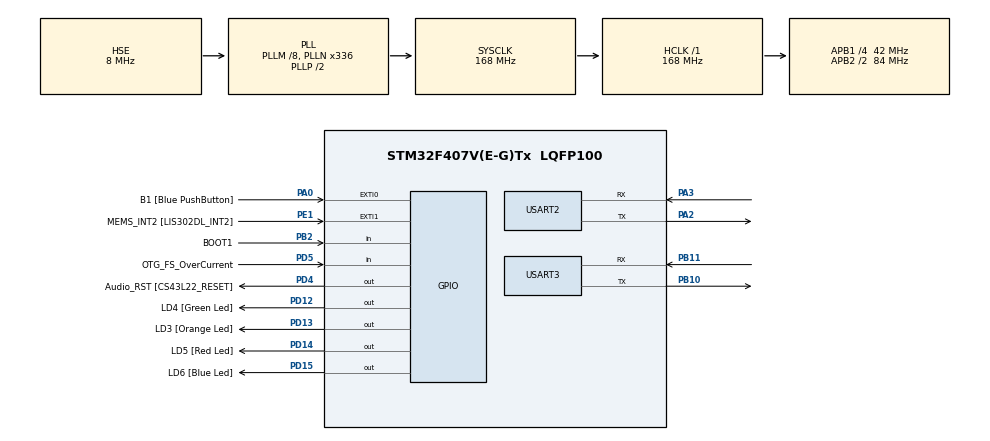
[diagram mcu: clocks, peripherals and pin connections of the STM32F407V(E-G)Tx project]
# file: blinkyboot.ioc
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Mcu.Family=STM32F4
Mcu.Name=STM32F407V(E-G)Tx
Mcu.Package=LQFP100
NVIC.PriorityGroup=NVIC_PRIORITYGROUP_0
PA0-WKUP.GPIO_Label=B1 [Blue PushButton]
PA0-WKUP.GPIO_ModeDefaultEXTI=GPIO_MODE_EVT_RISING
PA0-WKUP.GPIO_PuPd=GPIO_NOPULL
PA0-WKUP.Signal=GPXTI0
PA13.GPIO_Label=SWDIO
PA13.Mode=Serial_Wire
PA13.Signal=SYS_JTMS-SWDIO
PA14.GPIO_Label=SWCLK
PA14.Mode=Serial_Wire
PA14.Signal=SYS_JTCK-SWCLK
PA2.Mode=Asynchronous
PA2.Signal=USART2_TX
PA3.Mode=Asynchronous
PA3.Signal=USART2_RX
PB10.Mode=Asynchronous
PB10.Signal=USART3_TX
PB11.Mode=Asynchronous
PB11.Signal=USART3_RX
PB2.GPIO_Label=BOOT1
PB2.GPIO_Mode=GPIO_MODE_INPUT
PB2.GPIO_PuPd=GPIO_NOPULL
PB2.Signal=GPIO_Input
PC14-OSC32_IN.GPIO_Label=PC14-OSC32_IN
PC14-OSC32_IN.Mode=LSE-External-Oscillator
PC14-OSC32_IN.Signal=RCC_OSC32_IN
PC15-OSC32_OUT.GPIO_Label=PC15-OSC32_OUT
PC15-OSC32_OUT.Mode=LSE-External-Oscillator
PC15-OSC32_OUT.Signal=RCC_OSC32_OUT
PD12.GPIO_Label=LD4 [Green Led]
PD12.GPIO_PuPd=GPIO_NOPULL
PD12.GPIO_Speed=GPIO_SPEED_FREQ_LOW
PD12.Signal=GPIO_Output
PD13.GPIO_Label=LD3 [Orange Led]
PD13.GPIO_PuPd=GPIO_NOPULL
PD13.GPIO_Speed=GPIO_SPEED_FREQ_LOW
PD13.Signal=GPIO_Output
PD14.GPIO_Label=LD5 [Red Led]
PD14.GPIO_PuPd=GPIO_NOPULL
PD14.GPIO_Speed=GPIO_SPEED_FREQ_LOW
PD14.Signal=GPIO_Output
PD15.GPIO_Label=LD6 [Blue Led]
PD15.GPIO_PuPd=GPIO_NOPULL
PD15.GPIO_Speed=GPIO_SPEED_FREQ_LOW
PD15.Signal=GPIO_Output
PD4.GPIO_Label=Audio_RST [CS43L22_RESET]
PD4.GPIO_PuPd=GPIO_NOPULL
PD4.GPIO_Speed=GPIO_SPEED_FREQ_LOW
PD4.Signal=GPIO_Output
PD5.GPIO_Label=OTG_FS_OverCurrent
PD5.GPIO_Mode=GPIO_MODE_INPUT
PD5.GPIO_PuPd=GPIO_NOPULL
PD5.Signal=GPIO_Input
PE1.GPIO_Label=MEMS_INT2 [LIS302DL_INT2]
PE1.GPIO_ModeDefaultEXTI=GPIO_MODE_EVT_RISING
PE1.GPIO_PuPd=GPIO_NOPULL
PE1.Signal=GPXTI1
PH0-OSC_IN.GPIO_Label=PH0-OSC_IN
PH0-OSC_IN.Mode=HSE-External-Oscillator
PH0-OSC_IN.Signal=RCC_OSC_IN
PH1-OSC_OUT.GPIO_Label=PH1-OSC_OUT
PH1-OSC_OUT.Mode=HSE-External-Oscillator
PH1-OSC_OUT.Signal=RCC_OSC_OUT
ProjectManager.HeapSize=0x200
ProjectManager.StackSize=0x400
ProjectManager.TargetToolchain=STM32CubeIDE
RCC.48MHZClocksFreq_Value=48000000
RCC.AHBFreq_Value=168000000
RCC.APB1CLKDivider=RCC_HCLK_DIV4
RCC.APB1Freq_Value=42000000
RCC.APB1TimFreq_Value=84000000
RCC.APB2CLKDivider=RCC_HCLK_DIV2
RCC.APB2Freq_Value=84000000
RCC.APB2TimFreq_Value=168000000
RCC.CortexFreq_Value=168000000
RCC.HCLKFreq_Value=168000000
RCC.HSE_VALUE=8000000
RCC.HSI_VALUE=16000000
RCC.PLLM=8
RCC.PLLN=336
RCC.PLLQ=7
RCC.PLLSourceVirtual=RCC_PLLSOURCE_HSE
RCC.SYSCLKFreq_VALUE=168000000
RCC.SYSCLKSource=RCC_SYSCLKSOURCE_PLLCLK
RCC.VCOOutputFreq_Value=336000000
USART2.VirtualMode=VM_ASYNC
USART3.VirtualMode=VM_ASYNC
VP_CRC_VS_CRC.Mode=CRC_Activate
board=STM32F407G-DISC1

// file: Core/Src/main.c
/* USER CODE BEGIN Header */
/**
  ******************************************************************************
  * @file           : main.c
  * @brief          : Main program body
  ******************************************************************************
  * @attention
  *
  * <h2><center>&copy; Copyright (c) 2021 STMicroelectronics.
  * All rights reserved.</center></h2>
  *
  * This software component is licensed by ST under Ultimate Liberty license
  * SLA0044, the "License"; You may not use this file except in compliance with
  * the License. You may obtain a copy of the License at:
  *                             www.st.com/SLA0044
  *
  ******************************************************************************
  */
/* USER CODE END Header */
#include "main.h"

CRC_HandleTypeDef hcrc;

UART_HandleTypeDef huart2;
UART_HandleTypeDef huart3;

void SystemClock_Config(void);
static void MX_GPIO_Init(void);
static void MX_USART3_UART_Init(void);
static void MX_CRC_Init(void);
static void MX_USART2_UART_Init(void);
/* USER CODE BEGIN PFP */
void vishwaboot_jumptoApplication(void);
void vishwaboot_runBootloader(void);
/* USER CODE END PFP */

int main(void)
{

  /* MCU Configuration--------------------------------------------------------*/

  /* Reset of all peripherals, Initializes the Flash interface and the Systick. */
  HAL_Init();

  /* Configure the system clock */
  SystemClock_Config();

  /* Initialize all configured peripherals */
  MX_GPIO_Init();
  MX_USART3_UART_Init();
  MX_CRC_Init();
  MX_USART2_UART_Init();

  /* Infinite loop */
  /* USER CODE BEGIN WHILE */
  while (1)
  {
	  if(HAL_GPIO_ReadPin(B1_GPIO_Port, B1_Pin) == 1)
	  {
		  vishwaboot_jumptoApplication();
	  }
	  else
	  {
		  vishwaboot_runBootloader();
	  }

    /* USER CODE END WHILE */

  }
}

void SystemClock_Config(void)
{
  RCC_OscInitTypeDef RCC_OscInitStruct = {0};
  RCC_ClkInitTypeDef RCC_ClkInitStruct = {0};

  /** Configure the main internal regulator output voltage
  */
  __HAL_RCC_PWR_CLK_ENABLE();
  __HAL_PWR_VOLTAGESCALING_CONFIG(PWR_REGULATOR_VOLTAGE_SCALE1);
  /** Initializes the RCC Oscillators according to the specified parameters
  * in the RCC_OscInitTypeDef structure.
  */
  RCC_OscInitStruct.OscillatorType = RCC_OSCILLATORTYPE_HSE;
  RCC_OscInitStruct.HSEState = RCC_HSE_ON;
  RCC_OscInitStruct.PLL.PLLState = RCC_PLL_ON;
  RCC_OscInitStruct.PLL.PLLSource = RCC_PLLSOURCE_HSE;
  RCC_OscInitStruct.PLL.PLLM = 8;
  RCC_OscInitStruct.PLL.PLLN = 336;
  RCC_OscInitStruct.PLL.PLLP = RCC_PLLP_DIV2;
  RCC_OscInitStruct.PLL.PLLQ = 7;
  if (HAL_RCC_OscConfig(&RCC_OscInitStruct) != HAL_OK)
  {
    Error_Handler();
  }
  /** Initializes the CPU, AHB and APB buses clocks
  */
  RCC_ClkInitStruct.ClockType = RCC_CLOCKTYPE_HCLK|RCC_CLOCKTYPE_SYSCLK
                              |RCC_CLOCKTYPE_PCLK1|RCC_CLOCKTYPE_PCLK2;
  RCC_ClkInitStruct.SYSCLKSource = RCC_SYSCLKSOURCE_PLLCLK;
  RCC_ClkInitStruct.AHBCLKDivider = RCC_SYSCLK_DIV1;
  RCC_ClkInitStruct.APB1CLKDivider = RCC_HCLK_DIV4;
  RCC_ClkInitStruct.APB2CLKDivider = RCC_HCLK_DIV2;

  if (HAL_RCC_ClockConfig(&RCC_ClkInitStruct, FLASH_LATENCY_5) != HAL_OK)
  {
    Error_Handler();
  }
}

static void MX_CRC_Init(void)
{

  hcrc.Instance = CRC;
  if (HAL_CRC_Init(&hcrc) != HAL_OK)
  {
    Error_Handler();
  }

}

static void MX_USART2_UART_Init(void)
{

  huart2.Instance = USART2;
  huart2.Init.BaudRate = 115200;
  huart2.Init.WordLength = UART_WORDLENGTH_8B;
  huart2.Init.StopBits = UART_STOPBITS_1;
  huart2.Init.Parity = UART_PARITY_NONE;
  huart2.Init.Mode = UART_MODE_TX_RX;
  huart2.Init.HwFlowCtl = UART_HWCONTROL_NONE;
  huart2.Init.OverSampling = UART_OVERSAMPLING_16;
  if (HAL_UART_Init(&huart2) != HAL_OK)
  {
    Error_Handler();
  }

}

static void MX_USART3_UART_Init(void)
{

  huart3.Instance = USART3;
  huart3.Init.BaudRate = 115200;
  huart3.Init.WordLength = UART_WORDLENGTH_8B;
  huart3.Init.StopBits = UART_STOPBITS_1;
  huart3.Init.Parity = UART_PARITY_NONE;
  huart3.Init.Mode = UART_MODE_TX_RX;
  huart3.Init.HwFlowCtl = UART_HWCONTROL_NONE;
  huart3.Init.OverSampling = UART_OVERSAMPLING_16;
  if (HAL_UART_Init(&huart3) != HAL_OK)
  {
    Error_Handler();
  }

}

static void MX_GPIO_Init(void)
{
  GPIO_InitTypeDef GPIO_InitStruct = {0};

  /* GPIO Ports Clock Enable */
  __HAL_RCC_GPIOC_CLK_ENABLE();
  __HAL_RCC_GPIOH_CLK_ENABLE();
  __HAL_RCC_GPIOA_CLK_ENABLE();
  __HAL_RCC_GPIOB_CLK_ENABLE();
  __HAL_RCC_GPIOD_CLK_ENABLE();
  __HAL_RCC_GPIOE_CLK_ENABLE();

  /*Configure GPIO pin Output Level */
  HAL_GPIO_WritePin(GPIOD, LD4_Pin|LD3_Pin|LD5_Pin|LD6_Pin
                          |Audio_RST_Pin, GPIO_PIN_RESET);

  /*Configure GPIO pin : B1_Pin */
  GPIO_InitStruct.Pin = B1_Pin;
  GPIO_InitStruct.Mode = GPIO_MODE_EVT_RISING;
  GPIO_InitStruct.Pull = GPIO_NOPULL;
  HAL_GPIO_Init(B1_GPIO_Port, &GPIO_InitStruct);

  /*Configure GPIO pin : BOOT1_Pin */
  GPIO_InitStruct.Pin = BOOT1_Pin;
  GPIO_InitStruct.Mode = GPIO_MODE_INPUT;
  GPIO_InitStruct.Pull = GPIO_NOPULL;
  HAL_GPIO_Init(BOOT1_GPIO_Port, &GPIO_InitStruct);

  /*Configure GPIO pins : LD4_Pin LD3_Pin LD5_Pin LD6_Pin
                           Audio_RST_Pin */
  GPIO_InitStruct.Pin = LD4_Pin|LD3_Pin|LD5_Pin|LD6_Pin
                          |Audio_RST_Pin;
  GPIO_InitStruct.Mode = GPIO_MODE_OUTPUT_PP;
  GPIO_InitStruct.Pull = GPIO_NOPULL;
  GPIO_InitStruct.Speed = GPIO_SPEED_FREQ_LOW;
  HAL_GPIO_Init(GPIOD, &GPIO_InitStruct);

  /*Configure GPIO pin : OTG_FS_OverCurrent_Pin */
  GPIO_InitStruct.Pin = OTG_FS_OverCurrent_Pin;
  GPIO_InitStruct.Mode = GPIO_MODE_INPUT;
  GPIO_InitStruct.Pull = GPIO_NOPULL;
  HAL_GPIO_Init(OTG_FS_OverCurrent_GPIO_Port, &GPIO_InitStruct);

  /*Configure GPIO pin : MEMS_INT2_Pin */
  GPIO_InitStruct.Pin = MEMS_INT2_Pin;
  GPIO_InitStruct.Mode = GPIO_MODE_EVT_RISING;
  GPIO_InitStruct.Pull = GPIO_NOPULL;
  HAL_GPIO_Init(MEMS_INT2_GPIO_Port, &GPIO_InitStruct);

}

/* USER CODE BEGIN 4 */
static void printmsg(char *format,...);
uint8_t rcv_len=0;
char somedata[] = "Hello from Bootloader\r\n";
#define BL_RX_LEN  200
uint8_t bl_rx_buffer[BL_RX_LEN];
void vishwaboot_jumptoApplication(void){
	void (*GotoApplResetAddress)(void);
	uint32_t msp_value;
	uint32_t resethandleradd;
	msp_value = *(volatile uint32_t*)APPL_START_ADDRESS;
	resethandleradd =  *(volatile uint32_t*) RESET_HANDLER_ADDRESS;
	GotoApplResetAddress = (void*)resethandleradd;
	HAL_RCC_DeInit();
	HAL_RCC_DeInit();
	HAL_UART_DeInit(&huart3);
	HAL_CRC_DeInit(&hcrc);
	HAL_DeInit();
	__set_MSP(msp_value);
	GotoApplResetAddress();
	//App_Start_Fun_Ptr();
}

void vishwaboot_runBootloader(void){

//	HAL_GPIO_TogglePin(GPIOD, LD3_Pin);
//	HAL_Delay(100);
//	HAL_GPIO_TogglePin(GPIOD, LD3_Pin);
//	HAL_GPIO_TogglePin(GPIOD, LD4_Pin);
//	HAL_Delay(100);
//	HAL_GPIO_TogglePin(GPIOD, LD4_Pin);
//	HAL_GPIO_TogglePin(GPIOD, LD6_Pin);
//	HAL_Delay(100);
//	HAL_GPIO_TogglePin(GPIOD, LD6_Pin);
//	HAL_GPIO_TogglePin(GPIOD, LD5_Pin);
//	HAL_Delay(100);
	HAL_GPIO_TogglePin(GPIOD, LD5_Pin);
	memset(bl_rx_buffer,0,200);
	//here we will read and decode the commands coming from host
	//first read only one byte from the host , which is the "length" field of the command packet

	HAL_UART_Receive(&huart3,bl_rx_buffer,1,1000);
	rcv_len= bl_rx_buffer[0];
	HAL_UART_Receive(&huart3,&bl_rx_buffer[1],rcv_len,1000);
	switch(bl_rx_buffer[1])
	{
        case BL_GET_VER:
            bootloader_handle_getver_cmd(bl_rx_buffer);
            break;
        case BL_GET_HELP:
            bootloader_handle_gethelp_cmd(bl_rx_buffer);
            break;
        case BL_GET_CID:
            bootloader_handle_getcid_cmd(bl_rx_buffer);
            break;
        case BL_GET_RDP_STATUS:
            bootloader_handle_getrdp_cmd(bl_rx_buffer);
            break;
        case BL_GO_TO_ADDR:
            bootloader_handle_go_cmd(bl_rx_buffer);
            break;
        case BL_FLASH_ERASE:
            bootloader_handle_flash_erase_cmd(bl_rx_buffer);
            break;
        case BL_MEM_WRITE:
            bootloader_handle_mem_write_cmd(bl_rx_buffer);
            break;
        case BL_EN_RW_PROTECT:
            bootloader_handle_en_rw_protect(bl_rx_buffer);
            break;
        case BL_MEM_READ:
            bootloader_handle_mem_read(bl_rx_buffer);
            break;
        case BL_READ_SECTOR_P_STATUS:
            bootloader_handle_read_sector_protection_status(bl_rx_buffer);
            break;
        case BL_OTP_READ:
            bootloader_handle_read_otp(bl_rx_buffer);
            break;
					case BL_DIS_R_W_PROTECT:
            bootloader_handle_dis_rw_protect(bl_rx_buffer);
            break;
         default:
            //printmsg("BL_DEBUG_MSG:Invalid command code received from host \n");
            break;
	}

}

void  bootloader_uart_read_data(void);
void bootloader_jump_to_user_app(void);

void bootloader_handle_getver_cmd(uint8_t *bl_rx_buffer){
    uint8_t bl_version;

    // 1) verify the checksum
      printmsg("BL_DEBUG_MSG:bootloader_handle_getver_cmd\n\r");

	 //Total length of the command packet
	  uint32_t command_packet_len = bl_rx_buffer[0]+1 ;

	  //extract the CRC32 sent by the Host
	  uint32_t host_crc = *((uint32_t * ) (bl_rx_buffer+command_packet_len - 4) ) ;

    if (! bootloader_verify_crc(&bl_rx_buffer[0],command_packet_len-4,host_crc))
    {
        printmsg("BL_DEBUG_MSG:checksum success !!\n\r");
        // checksum is correct..
        bootloader_send_ack(bl_rx_buffer[0],1);
        bl_version=get_bootloader_version();
        printmsg("BL_DEBUG_MSG:BL_VER : %d %#x\n\r",bl_version,bl_version);
        bootloader_uart_write_data(&bl_version,1);

    }else
    {
        printmsg("BL_DEBUG_MSG:checksum fail !!\n\r");
        //checksum is wrong send nack
        bootloader_send_nack();
    }
}
void bootloader_handle_gethelp_cmd(uint8_t *pBuffer){}
void bootloader_handle_getcid_cmd(uint8_t *pBuffer){}
void bootloader_handle_getrdp_cmd(uint8_t *pBuffer){}
void bootloader_handle_go_cmd(uint8_t *pBuffer){}
void bootloader_handle_flash_erase_cmd(uint8_t *pBuffer){
    uint8_t erase_status = 0x00;
    printmsg("BL_DEBUG_MSG:bootloader_handle_flash_erase_cmd\n\r");

    //Total length of the command packet
	uint32_t command_packet_len = bl_rx_buffer[0]+1 ;

	//extract the CRC32 sent by the Host
	uint32_t host_crc = *((uint32_t * ) (bl_rx_buffer+command_packet_len - 4) ) ;

	if (! bootloader_verify_crc(&bl_rx_buffer[0],command_packet_len-4,host_crc))
	{
        printmsg("BL_DEBUG_MSG:checksum success !!\n\r");
        bootloader_send_ack(pBuffer[0],1);
        printmsg("BL_DEBUG_MSG:initial_sector : %d  no_ofsectors: %d\n\r",pBuffer[2],pBuffer[3]);

//        HAL_GPIO_WritePin(LD2_GPIO_Port, LD2_Pin,1);
        erase_status = execute_flash_erase(pBuffer[2] , pBuffer[3]);
//        HAL_GPIO_WritePin(LD2_GPIO_Port, LD2_Pin,0);

        printmsg("BL_DEBUG_MSG: flash erase status: %#x\n\r",erase_status);

        bootloader_uart_write_data(&erase_status,1);

	}else
	{
        printmsg("BL_DEBUG_MSG:checksum fail !!\n\r");
        bootloader_send_nack();
	}
}
uint32_t write_request_counter = 0;
void bootloader_handle_mem_write_cmd(uint8_t *pBuffer){
	uint8_t addr_valid = ADDR_VALID;
	uint8_t write_status = 0x00;
	uint8_t chksum =0, len=0;
	len = pBuffer[0];
	uint8_t payload_len = pBuffer[6];

	uint32_t mem_address = *((uint32_t *) ( &pBuffer[2]) );

	chksum = pBuffer[len];

    printmsg("BL_DEBUG_MSG:bootloader_handle_mem_write_cmd\n\r");
    write_request_counter++;
    //Total length of the command packet
	uint32_t command_packet_len = bl_rx_buffer[0]+1 ;

	//extract the CRC32 sent by the Host
	uint32_t host_crc = *((uint32_t * ) (bl_rx_buffer+command_packet_len - 4) ) ;

	if (! bootloader_verify_crc(&bl_rx_buffer[0],command_packet_len-4,host_crc))
	{
        printmsg("BL_DEBUG_MSG:checksum success !!\n\r");

        HAL_Delay(500);
        bootloader_send_ack(pBuffer[0],1);

        printmsg("BL_DEBUG_MSG: mem write address : %#x\n\r",mem_address);

		if( verify_address(mem_address) == ADDR_VALID )
		{

            printmsg("BL_DEBUG_MSG: valid mem write address\n\r");

            //glow the led to indicate bootloader is currently writing to memory
//            HAL_GPIO_WritePin(LD2_GPIO_Port, LD2_Pin, GPIO_PIN_SET);

            //execute mem write
            write_status = execute_mem_write(&pBuffer[7],mem_address, payload_len);

            //turn off the led to indicate memory write is over
//            HAL_GPIO_WritePin(LD2_GPIO_Port, LD2_Pin, GPIO_PIN_RESET);

            //inform host about the status
            bootloader_uart_write_data(&write_status,1);

		}else
		{
            printmsg("BL_DEBUG_MSG: invalid mem write address\n\r");
            write_status = ADDR_INVALID;
            //inform host that address is invalid
            bootloader_uart_write_data(&write_status,1);
		}

	}else
	{
        printmsg("BL_DEBUG_MSG:checksum fail !!\n\r");
        bootloader_send_nack();
	}
}
void bootloader_handle_en_rw_protect(uint8_t *pBuffer){}
void bootloader_handle_mem_read (uint8_t *pBuffer){}
void bootloader_handle_read_sector_protection_status(uint8_t *pBuffer){}
void bootloader_handle_read_otp(uint8_t *pBuffer){}
void bootloader_handle_dis_rw_protect(uint8_t *pBuffer){}

void bootloader_send_ack(uint8_t command_code, uint8_t follow_len){
	 //here we send 2 byte.. first byte is ack and the second byte is len value
	uint8_t ack_buf[2];
	ack_buf[0] = BL_ACK;
	ack_buf[1] = follow_len;
	HAL_UART_Transmit(C_UART,ack_buf,2,HAL_MAX_DELAY);
}
void bootloader_send_nack(void){
	uint8_t nack = BL_NACK;
	HAL_UART_Transmit(C_UART,&nack,1,HAL_MAX_DELAY);
}

uint8_t bootloader_verify_crc (uint8_t *pData, uint32_t len,uint32_t crc_host){
    uint32_t uwCRCValue=0xff;

    for (uint32_t i=0 ; i < len ; i++)
	{
        uint32_t i_data = pData[i];
        uwCRCValue = HAL_CRC_Accumulate(&hcrc, &i_data, 1);
	}

	 /* Reset CRC Calculation Unit */
  __HAL_CRC_DR_RESET(&hcrc);

	if( uwCRCValue == crc_host)
	{
		return VERIFY_CRC_SUCCESS;
	}

	return VERIFY_CRC_FAIL;
}
uint8_t get_bootloader_version(void){
	return (uint8_t)BL_VERSION;
}
void bootloader_uart_write_data(uint8_t *pBuffer,uint32_t len){
    /*you can replace the below ST's USART driver API call with your MCUs driver API call */
	HAL_UART_Transmit(C_UART,pBuffer,len,HAL_MAX_DELAY);
}

uint16_t get_mcu_chip_id(void){}
uint8_t get_flash_rdp_level(void){}
uint8_t verify_address(uint32_t go_address){
	//so, what are the valid addresses to which we can jump ?
	//can we jump to system memory ? yes
	//can we jump to sram1 memory ?  yes
	//can we jump to sram2 memory ? yes
	//can we jump to backup sram memory ? yes
	//can we jump to peripheral memory ? its possible , but dont allow. so no
	//can we jump to external memory ? yes.

//incomplete -poorly written .. optimize it
	if ( go_address >= SRAM1_BASE && go_address <= SRAM1_END)
	{
		return ADDR_VALID;
	}
	else if ( go_address >= SRAM2_BASE && go_address <= SRAM2_END)
	{
		return ADDR_VALID;
	}
	else if ( go_address >= FLASH_BASE && go_address <= FLASH_END)
	{
		return ADDR_VALID;
	}
	else if ( go_address >= BKPSRAM_BASE && go_address <= BKPSRAM_END)
	{
		return ADDR_VALID;
	}
	else
		return ADDR_INVALID;
}
uint8_t execute_flash_erase(uint8_t sector_number , uint8_t number_of_sector){
	//number_of_sector has to be in the range of 0 to 7
	// if sector_number = 0xff , that means mass erase !
	//Code needs to modified if your MCU supports more flash sectors
	FLASH_EraseInitTypeDef flashErase_handle;
	uint32_t sectorError;
	HAL_StatusTypeDef status;

	if( number_of_sector > 8 )
		return INVALID_SECTOR;

	if( (sector_number == 0xff ) || (sector_number <= 7) )
	{
		if(sector_number == (uint8_t) 0xff)
		{
			flashErase_handle.TypeErase = FLASH_TYPEERASE_MASSERASE;
		}else
		{
		    /*Here we are just calculating how many sectors needs to erased */
			uint8_t remanining_sector = 8 - sector_number;
            if( number_of_sector > remanining_sector)
            {
            	number_of_sector = remanining_sector;
            }
			flashErase_handle.TypeErase = FLASH_TYPEERASE_SECTORS;
			flashErase_handle.Sector = sector_number; // this is the initial sector
			flashErase_handle.NbSectors = number_of_sector;
		}
		flashErase_handle.Banks = FLASH_BANK_1;

		/*Get access to touch the flash registers */
		HAL_FLASH_Unlock();
		flashErase_handle.VoltageRange = FLASH_VOLTAGE_RANGE_3;  // our mcu will work on this voltage range
		status = (uint8_t) HAL_FLASHEx_Erase(&flashErase_handle, &sectorError);
		HAL_FLASH_Lock();

		return status;
	}

	return INVALID_SECTOR;
}
/*This function writes the contents of pBuffer to  "mem_address" byte by byte */
//Note1 : Currently this function supports writing to Flash only .
//Note2 : This functions does not check whether "mem_address" is a valid address of the flash range.
uint8_t execute_mem_write(uint8_t *pBuffer, uint32_t mem_address, uint32_t len){
    uint8_t status=HAL_OK;

    //We have to unlock flash module to get control of registers
    HAL_FLASH_Unlock();

    for(uint32_t i = 0 ; i <len ; i++)
    {
        //Here we program the flash byte by byte
        status = HAL_FLASH_Program(FLASH_TYPEPROGRAM_BYTE,mem_address+i,pBuffer[i] );
    }

    HAL_FLASH_Lock();

    return status;
}

uint8_t configure_flash_sector_rw_protection(uint8_t sector_details, uint8_t protection_mode, uint8_t disable){}

uint16_t read_OB_rw_protection_status(void){}

/* prints formatted string to console over UART */
static void printmsg(char *format,...)
 {
#ifndef BL_DEBUG_MSG_EN
	char str[80];

	/*Extract the the argument list using VA apis */
	va_list args;
	va_start(args, format);
	vsprintf(str, format,args);
	HAL_UART_Transmit(&huart2,(uint8_t *)str, strlen(str),HAL_MAX_DELAY);
	va_end(args);
#endif
 }
/* USER CODE END 4 */

void Error_Handler(void)
{
  __disable_irq();
  while (1)
  {
  }
}

/************************ (C) COPYRIGHT STMicroelectronics *****END OF FILE****/
